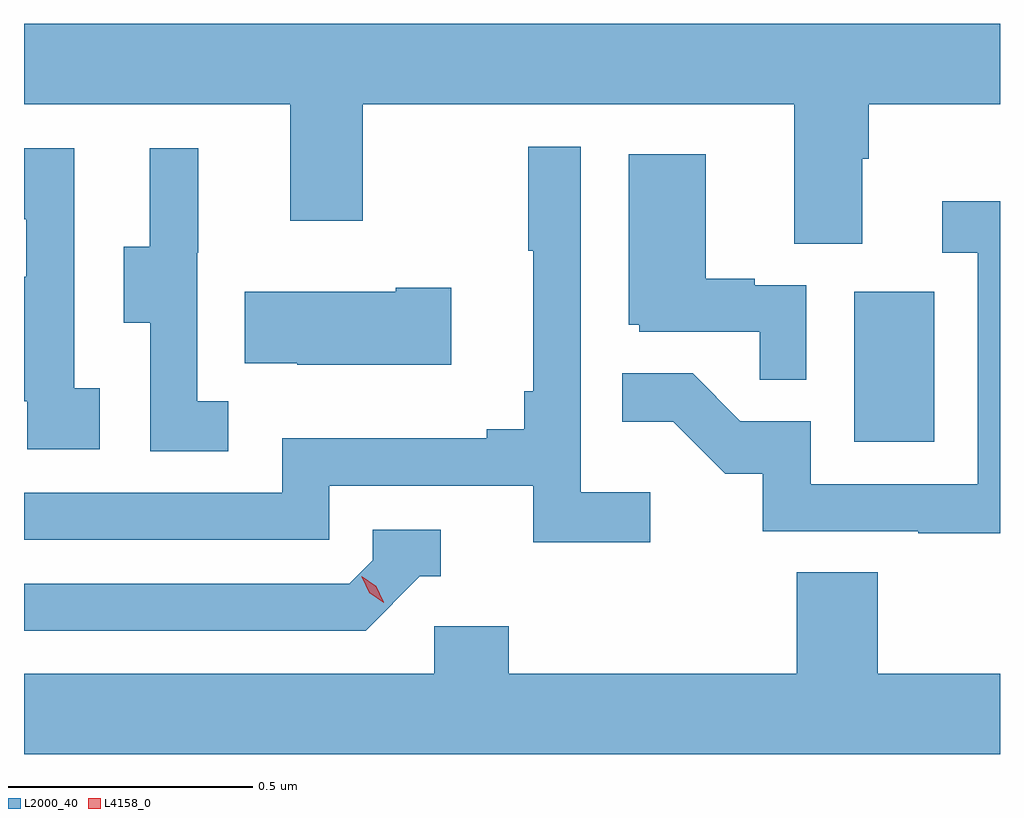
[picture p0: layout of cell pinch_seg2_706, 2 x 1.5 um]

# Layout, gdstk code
import gdstk
lib = gdstk.Library(unit=1e-6, precision=1e-09)
def R(c, l, rs):  # rectangles x0, y0, x1, y1
    for r in rs: c.add(gdstk.rectangle(r[:2], r[2:], *l))
def P(c, l, *ps):  # polygons
    for p in ps: c.add(gdstk.Polygon(p, *l))
L2000_40 = (2000, 40)
L4158_0 = (4158, 0)

pinch_seg2_706 = lib.new_cell('pinch_seg2_706')
R(pinch_seg2_706, L2000_40, [(1093.988,597.66,1094.152,597.967)])
P(pinch_seg2_706, L2000_40, [(1094.005,598.24),(1094.018,598.24),(1094.018,598.352),(1094.287,598.352),(1094.287,598.516),(1092.287,598.516),(1092.287,598.352),(1092.833,598.352),(1092.833,598.113),(1092.981,598.113),(1092.981,598.352),(1093.865,598.352),(1093.865,598.066),(1094.005,598.066)],
  [(1093.57,597.556),(1093.428,597.556),(1093.428,598.264),(1093.32,598.264),(1093.32,598.051),(1093.331,598.051),(1093.331,597.763),(1093.312,597.763),(1093.312,597.686),(1093.235,597.686),(1093.235,597.667),(1092.816,597.667),(1092.816,597.555),(1092.287,597.555),(1092.287,597.459),(1092.912,597.459),(1092.912,597.57),(1093.331,597.57),(1093.331,597.454),(1093.57,597.454)],
  [(1092.706,597.743),(1092.642,597.743),(1092.642,598.047),(1092.644,598.047),(1092.644,598.261),(1092.545,598.261),(1092.545,598.059),(1092.491,598.059),(1092.491,597.904),(1092.546,597.904),(1092.546,597.64),(1092.706,597.64)],
  [(1092.442,597.77),(1092.39,597.77),(1092.39,598.261),(1092.287,598.261),(1092.287,598.116),(1092.292,598.116),(1092.292,597.998),(1092.287,597.998),(1092.287,597.743),(1092.294,597.743),(1092.294,597.645),(1092.442,597.645)],
  [(1093.89,597.981),(1093.784,597.981),(1093.784,597.994),(1093.684,597.994),(1093.684,598.249),(1093.526,598.249),(1093.526,597.9),(1093.548,597.9),(1093.548,597.885),(1093.795,597.885),(1093.795,597.787),(1093.89,597.787)],
  [(1094.287,598.153),(1094.169,598.153),(1094.169,598.047),(1094.241,598.047),(1094.241,597.573),(1093.899,597.573),(1093.899,597.702),(1093.755,597.702),(1093.657,597.8),(1093.513,597.8),(1093.513,597.701),(1093.617,597.701),(1093.724,597.594),(1093.801,597.594),(1093.801,597.477),(1094.119,597.477),(1094.119,597.472),(1094.287,597.472)],
  [(1093.162,597.975),(1093.049,597.975),(1093.049,597.967),(1092.739,597.967),(1092.739,597.821),(1092.847,597.821),(1092.847,597.818),(1093.162,597.818)],
  [(1093.098,597.384),(1093.141,597.384),(1093.141,597.48),(1093.002,597.48),(1093.002,597.417),(1092.954,597.369),(1092.287,597.369),(1092.287,597.273),(1092.987,597.273)],
  [(1094.287,597.184),(1094.036,597.184),(1094.036,597.392),(1093.871,597.392),(1093.871,597.184),(1093.28,597.184),(1093.28,597.282),(1093.128,597.282),(1093.128,597.184),(1092.287,597.184),(1092.287,597.02),(1094.287,597.02)])
P(pinch_seg2_706, L4158_0, [(1093.024,597.33),(1092.994,597.35),(1092.979,597.383),(1092.979,597.384),(1092.979,597.384),(1093.009,597.364),(1093.024,597.331),(1093.024,597.33)])

lib.write_gds('pinch_seg2_706.gds')
